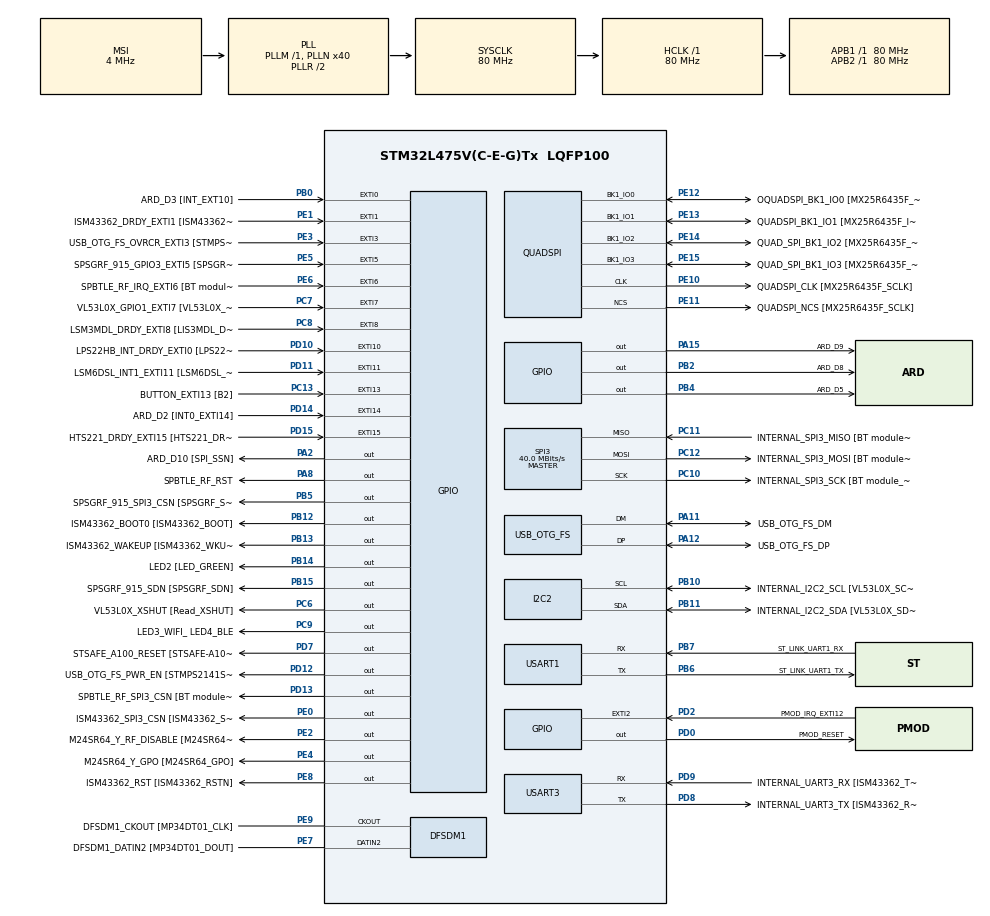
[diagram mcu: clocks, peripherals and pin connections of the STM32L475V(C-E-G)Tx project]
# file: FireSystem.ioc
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FREERTOS.BinarySemaphores01=myBinarySem01,Dynamic,NULL;myBinarySem02,Dynamic,NULL;myBinarySem03,Dynamic,NULL
FREERTOS.Mutexes01=myMutex01,Dynamic,NULL
FREERTOS.Queues01=myQueue01,256,Data,0,Dynamic,NULL,NULL;myQueue02,64,Temp,0,Dynamic,NULL,NULL;myQueue03,64,Temp,0,Dynamic,NULL,NULL
FREERTOS.Tasks01=TaskBottone,2,128,StartTaskBottone,Default,NULL,Dynamic,NULL,NULL;TaskTemperatura,0,128,StartTaskTemperatura,Default,NULL,Dynamic,NULL,NULL;TaskDistanza,0,512,StartTaskDistanza,Default,NULL,Dynamic,NULL,NULL;TaskLed,0,128,StartTaskLed,Default,NULL,Dynamic,NULL,NULL
FREERTOS.configENABLE_FPU=1
FREERTOS.configGENERATE_RUN_TIME_STATS=1
FREERTOS.configRECORD_STACK_HIGH_ADDRESS=1
FREERTOS.configTOTAL_HEAP_SIZE=8000
FREERTOS.configUSE_APPLICATION_TASK_TAG=1
FREERTOS.configUSE_COUNTING_SEMAPHORES=1
FREERTOS.configUSE_CO_ROUTINES=1
FREERTOS.configUSE_IDLE_HOOK=1
FREERTOS.configUSE_MALLOC_FAILED_HOOK=1
FREERTOS.configUSE_RECURSIVE_MUTEXES=1
FREERTOS.configUSE_STATS_FORMATTING_FUNCTIONS=1
FREERTOS.configUSE_TICK_HOOK=1
FREERTOS.configUSE_TIMERS=1
FREERTOS.configUSE_TRACE_FACILITY=1
Mcu.Family=STM32L4
Mcu.Name=STM32L475V(C-E-G)Tx
Mcu.Package=LQFP100
NVIC.EXTI15_10_IRQn=true\:5\:0\:false\:false\:true\:true\:true\:true
NVIC.EXTI9_5_IRQn=true\:5\:0\:false\:false\:true\:true\:true\:true
NVIC.PriorityGroup=NVIC_PRIORITYGROUP_4
PA0.GPIO_Label=ARD_D1 [UART4_TX]
PA0.Signal=UART4_TX
PA1.GPIO_Label=ARD_D0 [UART4_RX]
PA1.Signal=UART4_RX
PA10.GPIO_Label=USB_OTG_FS_ID
PA10.Signal=USB_OTG_FS_ID
PA11.GPIO_Label=USB_OTG_FS_DM
PA11.Mode=Device_Only
PA11.Signal=USB_OTG_FS_DM
PA12.GPIO_Label=USB_OTG_FS_DP
PA12.Mode=Device_Only
PA12.Signal=USB_OTG_FS_DP
PA13\ (JTMS-SWDIO).GPIO_Label=SYS_JTMS_SWDIO
PA13\ (JTMS-SWDIO).Mode=Serial_Wire
PA13\ (JTMS-SWDIO).Signal=SYS_JTMS-SWDIO
PA14\ (JTCK-SWCLK).GPIO_Label=SYS_JTCK_SWCLK
PA14\ (JTCK-SWCLK).Mode=Serial_Wire
PA14\ (JTCK-SWCLK).Signal=SYS_JTCK-SWCLK
PA15\ (JTDI).GPIO_Label=ARD_D9
PA15\ (JTDI).Signal=GPIO_Output
PA2.GPIO_Label=ARD_D10 [SPI_SSN]
PA2.Signal=GPIO_Output
PA3.GPIO_Label=ARD_D4
PA3.Signal=S_TIM2_CH4
PA4.GPIO_Label=ARD_D7
PA4.Signal=ADCx_IN9
PA5.GPIO_Label=ARD_D13 [SPI1_SCK]
PA5.Signal=SPI1_SCK
PA6.GPIO_Label=ARD_D12 [SPI1_MISO]
PA6.Signal=SPI1_MISO
PA7.GPIO_Label=ARD_D11 [SPI1_MOSI]
PA7.Signal=SPI1_MOSI
PA8.GPIO_Label=SPBTLE_RF_RST
PA8.Signal=GPIO_Output
PA9.GPIO_Label=USB_OTG_FS_VBUS [STMPS2141STR_OUT]
PA9.Signal=USB_OTG_FS_VBUS
PB0.GPIO_Label=ARD_D3 [INT_EXT10]
PB0.Signal=GPXTI0
PB1.GPIO_Label=ARD_D6 [ADC1_IN6]
PB1.Signal=ADCx_IN16
PB10.GPIO_Label=INTERNAL_I2C2_SCL [VL53L0X_SCL]
PB10.Mode=I2C
PB10.Signal=I2C2_SCL
PB11.GPIO_Label=INTERNAL_I2C2_SDA [VL53L0X_SDA]
PB11.Mode=I2C
PB11.Signal=I2C2_SDA
PB12.GPIO_Label=ISM43362_BOOT0 [ISM43362_BOOT]
PB12.Signal=GPIO_Output
PB13.GPIO_Label=ISM43362_WAKEUP [ISM43362_WKUP]
PB13.Signal=GPIO_Output
PB14.GPIO_Label=LED2 [LED_GREEN]
PB14.Signal=GPIO_Output
PB15.GPIO_Label=SPSGRF_915_SDN [SPSGRF_SDN]
PB15.Signal=GPIO_Output
PB2.GPIO_Label=ARD_D8
PB2.Signal=GPIO_Output
PB3\ (JTDO-TRACESWO).GPIO_Label=SYS_JTD0_SWO
PB3\ (JTDO-TRACESWO).Signal=SYS_JTDO-SWO
PB4\ (NJTRST).GPIO_Label=ARD_D5
PB4\ (NJTRST).Signal=GPIO_Output
PB5.GPIO_Label=SPSGRF_915_SPI3_CSN [SPSGRF_SPI_CS]
PB5.PinState=GPIO_PIN_SET
PB5.Signal=GPIO_Output
PB6.GPIO_Label=ST_LINK_UART1_TX
PB6.Mode=Asynchronous
PB6.Signal=USART1_TX
PB7.GPIO_Label=ST_LINK_UART1_RX
PB7.Mode=Asynchronous
PB7.Signal=USART1_RX
PB8.GPIO_Label=ARD_D15 [I2C1_SCL]
PB8.Signal=I2C1_SCL
PB9.GPIO_Label=ARD_D14 [I2C1_SDA]
PB9.Signal=I2C1_SDA
PC0.GPIO_Label=ARD_A5 [ADC]
PC0.Signal=ADCx_IN1
PC1.GPIO_Label=ARD_A4 [ADC]
PC1.Signal=ADCx_IN2
PC10.GPIO_Label=INTERNAL_SPI3_SCK [BT module_SPI_SCLK] [ISM43362_SCK]
PC10.Mode=Full_Duplex_Master
PC10.Signal=SPI3_SCK
PC11.GPIO_Label=INTERNAL_SPI3_MISO [BT module_SPI_MISO] [ISM43362_MISO]
PC11.Mode=Full_Duplex_Master
PC11.Signal=SPI3_MISO
PC12.GPIO_Label=INTERNAL_SPI3_MOSI [BT module_SPI_MOSI] [ISM43362_MOSI]
PC12.Mode=Full_Duplex_Master
PC12.Signal=SPI3_MOSI
PC13.GPIO_Label=BUTTON_EXTI13 [B2]
PC13.GPIO_ModeDefaultEXTI=GPIO_MODE_IT_FALLING
PC13.Signal=GPXTI13
PC14-OSC32_IN\ (PC14).Mode=LSE-External-Oscillator
PC14-OSC32_IN\ (PC14).Signal=RCC_OSC32_IN
PC15-OSC32_OUT\ (PC15).Mode=LSE-External-Oscillator
PC15-OSC32_OUT\ (PC15).Signal=RCC_OSC32_OUT
PC2.GPIO_Label=ARD_A3 [ADC]
PC2.Signal=ADCx_IN3
PC3.GPIO_Label=ARD_A2 [ADC]
PC3.Signal=ADCx_IN4
PC4.GPIO_Label=ARD_A1 [ADC]
PC4.Signal=ADCx_IN13
PC5.GPIO_Label=ARD_A0 [ADC]
PC5.Signal=ADCx_IN14
PC6.GPIO_Label=VL53L0X_XSHUT [Read_XSHUT]
PC6.Signal=GPIO_Output
PC7.GPIO_Label=VL53L0X_GPIO1_EXTI7 [VL53L0X_GPIO1]
PC7.Signal=GPXTI7
PC8.GPIO_Label=LSM3MDL_DRDY_EXTI8 [LIS3MDL_DRDY]
PC8.Signal=GPXTI8
PC9.GPIO_Label=LED3_WIFI_ LED4_BLE
PC9.Signal=GPIO_Output
PD0.GPIO_Label=PMOD_RESET
PD0.Signal=GPIO_Output
PD1.GPIO_Label=PMOD_SPI2_SCK
PD1.Signal=SPI2_SCK
PD10.GPIO_Label=LPS22HB_INT_DRDY_EXTI0 [LPS22HB_INT_DRDY] 
PD10.Signal=GPXTI10
PD11.GPIO_Label=LSM6DSL_INT1_EXTI11 [LSM6DSL_INT1]
PD11.Signal=GPXTI11
PD12.GPIO_Label=USB_OTG_FS_PWR_EN [STMPS2141STR_EN]
PD12.Signal=GPIO_Output
PD13.GPIO_Label=SPBTLE_RF_SPI3_CSN [BT module_SPI_CS]
PD13.PinState=GPIO_PIN_SET
PD13.Signal=GPIO_Output
PD14.GPIO_Label=ARD_D2 [INT0_EXTI14]
PD14.Signal=GPXTI14
PD15.GPIO_Label=HTS221_DRDY_EXTI15 [HTS221_DRDY]
PD15.Signal=GPXTI15
PD2.GPIO_Label=PMOD_IRQ_EXTI12
PD2.Signal=GPXTI2
PD3.GPIO_Label=PMOD_UART2_CTS
PD3.Signal=USART2_CTS
PD4.GPIO_Label=PMOD_UART2_RTS
PD4.Signal=USART2_RTS
PD5.GPIO_Label=PMOD_UART2_TX
PD5.Signal=USART2_TX
PD6.GPIO_Label=PMOD_UART2_RX
PD6.Signal=USART2_RX
PD7.GPIO_Label=STSAFE_A100_RESET [STSAFE-A100_RESET]
PD7.Signal=GPIO_Output
PD8.GPIO_Label=INTERNAL_UART3_TX [ISM43362_RX]
PD8.Mode=Asynchronous
PD8.Signal=USART3_TX
PD9.GPIO_Label=INTERNAL_UART3_RX [ISM43362_TX]
PD9.Mode=Asynchronous
PD9.Signal=USART3_RX
PE0.GPIO_Label=ISM43362_SPI3_CSN [ISM43362_SSN]
PE0.PinState=GPIO_PIN_SET
PE0.Signal=GPIO_Output
PE1.GPIO_Label=ISM43362_DRDY_EXTI1 [ISM43362_DATARDY]
PE1.Signal=GPXTI1
PE10.GPIO_Label=QUADSPI_CLK [MX25R6435F_SCLK]
PE10.Mode=Single Bank
PE10.Signal=QUADSPI_CLK
PE11.GPIO_Label=QUADSPI_NCS [MX25R6435F_SCLK]
PE11.Mode=Single Bank
PE11.Signal=QUADSPI_NCS
PE12.GPIO_Label=OQUADSPI_BK1_IO0 [MX25R6435F_IO0]
PE12.Mode=Single Bank
PE12.Signal=QUADSPI_BK1_IO0
PE13.GPIO_Label=QUADSPI_BK1_IO1 [MX25R6435F_IO1]
PE13.Mode=Single Bank
PE13.Signal=QUADSPI_BK1_IO1
PE14.GPIO_Label=QUAD_SPI_BK1_IO2 [MX25R6435F_IO2]
PE14.Mode=Single Bank
PE14.Signal=QUADSPI_BK1_IO2
PE15.GPIO_Label=QUAD_SPI_BK1_IO3 [MX25R6435F_IO3]
PE15.Mode=Single Bank
PE15.Signal=QUADSPI_BK1_IO3
PE2.GPIO_Label=M24SR64_Y_RF_DISABLE [M24SR64_RFDIS]
PE2.Signal=GPIO_Output
PE3.GPIO_Label=USB_OTG_FS_OVRCR_EXTI3 [STMPS2141STR_FAULT]
PE3.Signal=GPXTI3
PE4.GPIO_Label=M24SR64_Y_GPO [M24SR64_GPO]
PE4.Signal=GPIO_Output
PE5.GPIO_Label=SPSGRF_915_GPIO3_EXTI5 [SPSGRF_GPIO_3]
PE5.Signal=GPXTI5
PE6.GPIO_Label=SPBTLE_RF_IRQ_EXTI6 [BT module_SPI_IRQ]
PE6.Signal=GPXTI6
PE7.GPIO_Label=DFSDM1_DATIN2 [MP34DT01_DOUT]
PE7.Signal=S_DATAIN2DFSDM1
PE8.GPIO_Label=ISM43362_RST [ISM43362_RSTN]
PE8.Signal=GPIO_Output
PE9.GPIO_Label=DFSDM1_CKOUT [MP34DT01_CLK]
PE9.Signal=S_CKOUTDFSDM1
ProjectManager.HeapSize=0x200
ProjectManager.StackSize=0x400
ProjectManager.TargetToolchain=STM32CubeIDE
RCC.ADCFreq_Value=48000000
RCC.AHBFreq_Value=80000000
RCC.APB1Freq_Value=80000000
RCC.APB1TimFreq_Value=80000000
RCC.APB2Freq_Value=80000000
RCC.APB2TimFreq_Value=80000000
RCC.CortexFreq_Value=80000000
RCC.HCLKFreq_Value=80000000
RCC.HSE_VALUE=8000000
RCC.HSI_VALUE=16000000
RCC.MSI_VALUE=4000000
RCC.PLLN=40
RCC.PLLSAI1N=24
RCC.SYSCLKFreq_VALUE=80000000
RCC.SYSCLKSource=RCC_SYSCLKSOURCE_PLLCLK
RCC.USBFreq_Value=48000000
RCC.VCOOutputFreq_Value=160000000
SH.ADCx_IN1.0=ADC1_IN1
SH.ADCx_IN13.0=ADC1_IN13
SH.ADCx_IN14.0=ADC1_IN14
SH.ADCx_IN16.0=ADC1_IN16
SH.ADCx_IN2.0=ADC1_IN2
SH.ADCx_IN3.0=ADC1_IN3
SH.ADCx_IN4.0=ADC1_IN4
SH.ADCx_IN9.0=ADC1_IN9
SH.S_CKOUTDFSDM1.0=DFSDM1_CKOUT,CKOUT
SH.S_CKOUTDFSDM1.1=DFSDM1_CKOUT,PDM_SPI_Input_from_ch12_and_Internal_Clock
SH.S_DATAIN2DFSDM1.0=DFSDM1_DATIN2,PDM_SPI_Input_from_ch12_and_Internal_Clock
SH.S_TIM2_CH4.0=TIM2_CH4
SPI3.CalculateBaudRate=40.0 MBits/s
SPI3.Direction=SPI_DIRECTION_2LINES
SPI3.Mode=SPI_MODE_MASTER
SPI3.VirtualType=VM_MASTER
USART1.VirtualMode-Asynchronous=VM_ASYNC
USART3.VirtualMode-Asynchronous=VM_ASYNC
USB_OTG_FS.VirtualMode=Device_Only
VP_FREERTOS_VS_CMSIS_V1.Mode=CMSIS_V1
board=B-L475E-IOT01A1

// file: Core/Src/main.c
/* USER CODE BEGIN Header */
/**
  ******************************************************************************
  * @file           : main.c
  * @brief          : Main program body
  ******************************************************************************
  * @attention
  *
  * <h2><center>&copy; Copyright (c) 2020 STMicroelectronics.
  * All rights reserved.</center></h2>
  *
  * This software component is licensed by ST under BSD 3-Clause license,
  * the "License"; You may not use this file except in compliance with the
  * License. You may obtain a copy of the License at:
  *                        opensource.org/licenses/BSD-3-Clause
  *
  ******************************************************************************
  */
/* USER CODE END Header */

#include "main.h"
#include "cmsis_os.h"

/* USER CODE BEGIN Includes */
#include "vl53l0x_proximity.h"
#include "vl53l0x_platform.h"
#include "vl53l0x_device.h"

#include "stm32l4xx_hal.h"

#include "vl53l0x_api_ranging.h"
#include "vl53l0x_api.h"
#include "stdio.h"
#include "math.h"
#include "stm32l475e_iot01_tsensor.h"
#include "stm32l475e_iot01.h"
#include "tof_gestures_DIRSWIPE_1.h"
#include "tof_gestures_platform.h"
#include "tof_gestures_SWIPE_1.h"
#include "tof_gestures_TAP_1.h"
#include "tof_gestures_types.h"
#include "tof_gestures.h"
#include "tof_motion.h"

#include "message.h"
#include "time.h"
/* USER CODE END Includes */

/* USER CODE BEGIN PD */
#define tempMax 28
#define nTempValid 5
#define distMax 100
#define distMin 50
/* USER CODE END PD */

DFSDM_Channel_HandleTypeDef hdfsdm1_channel1;

I2C_HandleTypeDef hi2c2;

QSPI_HandleTypeDef hqspi;

SPI_HandleTypeDef hspi3;

UART_HandleTypeDef huart1;
UART_HandleTypeDef huart3;

PCD_HandleTypeDef hpcd_USB_OTG_FS;

osThreadId TaskBottoneHandle;
osThreadId TaskTemperaturaHandle;
osThreadId TaskDistanzaHandle;
osThreadId TaskLedHandle;
osMessageQId myQueue01Handle;
osMessageQId myQueue02Handle;
osMessageQId myQueue03Handle;
osMutexId myMutex01Handle;
osSemaphoreId myBinarySem01Handle;
osSemaphoreId myBinarySem02Handle;
osSemaphoreId myBinarySem03Handle;
/* USER CODE BEGIN PV */
char str_tmp2[30];
char str_tmp4[30];
char str_tmp5[30];
char str_tmp7[100];
char str_tmp8[100];
char str_tmp9[100];
char str_tmp10[100];
char str_tmp11[100];
char str_tmp12[100];
char str_tmp13[100];
char str_tmp14[100];
char str1[100];
char str2[100];
char str3[100];
char str4[100];
char linea[100]="----------------------------------------\n\r";
int delay = 1500;
int messaggioInviato = 0;
int messaggioTrasmesso = 0;
uint8_t temp_value=0;
int nTempBasse=0;
int nTempAlte=0;
int b2=1;
int b3=1;
osEvent distanzaRicevuta;
osEvent tempRicevuta;
osEvent statoPulsanteRicevuto;
uint32_t bitstatus=0;
int pulsante = 0;
int incendio = 0;
int action = 0;

uint32_t time1=0;
uint32_t time2=0;
uint32_t time3=0;
uint32_t time4=0;

typedef struct{
	uint16_t Distance;
	int Gesture;
} Data;

typedef struct{
	uint16_t tempValue;
	int id;
} Temp;

Gesture_SWIPE_1_Data_t gestureSwipeData;

/* USER CODE END PV */

void SystemClock_Config(void);
static void MX_GPIO_Init(void);
static void MX_DFSDM1_Init(void);
static void MX_I2C2_Init(void);
static void MX_QUADSPI_Init(void);
static void MX_SPI3_Init(void);
static void MX_USART1_UART_Init(void);
static void MX_USART3_UART_Init(void);
static void MX_USB_OTG_FS_PCD_Init(void);
void StartTaskBottone(void const * argument);
void StartTaskTemperatura(void const * argument);
void StartTaskDistanza(void const * argument);
void StartTaskLed(void const * argument);

int main(void)
{

  /* MCU Configuration--------------------------------------------------------*/

  /* Reset of all peripherals, Initializes the Flash interface and the Systick. */
  HAL_Init();

  /* Configure the system clock */
  SystemClock_Config();

  /* Initialize all configured peripherals */
  MX_GPIO_Init();
  MX_DFSDM1_Init();
  MX_I2C2_Init();
  MX_QUADSPI_Init();
  MX_SPI3_Init();
  MX_USART1_UART_Init();
  MX_USART3_UART_Init();
  MX_USB_OTG_FS_PCD_Init();
  /* USER CODE BEGIN 2 */
  VL53L0X_PROXIMITY_Init();
  BSP_TSENSOR_Init();
  tof_gestures_initSWIPE_1(&gestureSwipeData);
  /* USER CODE END 2 */
  /* Create the mutex(es) */
  /* definition and creation of myMutex01 */
  osMutexDef(myMutex01);
  myMutex01Handle = osMutexCreate(osMutex(myMutex01));

  /* Create the semaphores(s) */
   /* definition and creation of myBinarySem02 */
  osSemaphoreDef(myBinarySem02);
  myBinarySem02Handle = osSemaphoreCreate(osSemaphore(myBinarySem02), 1);

  /* definition and creation of myBinarySem03 */
  osSemaphoreDef(myBinarySem03);
  myBinarySem03Handle = osSemaphoreCreate(osSemaphore(myBinarySem03), 1);

  /* Create the queue(s) */
  /* definition and creation of myQueue01 */
  osMessageQDef(myQueue01, 256, Data);
  myQueue01Handle = osMessageCreate(osMessageQ(myQueue01), NULL);

  /* definition and creation of myQueue02 */
  osMessageQDef(myQueue02, 64, Temp);
  myQueue02Handle = osMessageCreate(osMessageQ(myQueue02), NULL);

  /* definition and creation of myQueue03 */
  osMessageQDef(myQueue03, 64, Temp);
  myQueue03Handle = osMessageCreate(osMessageQ(myQueue03), NULL);

  /* Create the thread(s) */
  /* definition and creation of TaskBottone */
  osThreadDef(TaskBottone, StartTaskBottone, osPriorityHigh, 0, 128);
  TaskBottoneHandle = osThreadCreate(osThread(TaskBottone), NULL);

  /* definition and creation of TaskTemperatura */
  osThreadDef(TaskTemperatura, StartTaskTemperatura, osPriorityNormal, 0, 128);
  TaskTemperaturaHandle = osThreadCreate(osThread(TaskTemperatura), NULL);

  /* definition and creation of TaskDistanza */
  osThreadDef(TaskDistanza, StartTaskDistanza, osPriorityNormal, 0, 512);
  TaskDistanzaHandle = osThreadCreate(osThread(TaskDistanza), NULL);

  /* definition and creation of TaskLed */
  osThreadDef(TaskLed, StartTaskLed, osPriorityNormal, 0, 128);
  TaskLedHandle = osThreadCreate(osThread(TaskLed), NULL);

  /* Start scheduler */
  osKernelStart();

  /* We should never get here as control is now taken by the scheduler */

  /* Infinite loop */
  while (1)
  {

  }
}

void SystemClock_Config(void)
{
  RCC_OscInitTypeDef RCC_OscInitStruct = {0};
  RCC_ClkInitTypeDef RCC_ClkInitStruct = {0};
  RCC_PeriphCLKInitTypeDef PeriphClkInit = {0};

  /** Configure LSE Drive Capability
  */
  HAL_PWR_EnableBkUpAccess();
  __HAL_RCC_LSEDRIVE_CONFIG(RCC_LSEDRIVE_LOW);
  /** Initializes the CPU, AHB and APB busses clocks
  */
  RCC_OscInitStruct.OscillatorType = RCC_OSCILLATORTYPE_LSE|RCC_OSCILLATORTYPE_MSI;
  RCC_OscInitStruct.LSEState = RCC_LSE_ON;
  RCC_OscInitStruct.MSIState = RCC_MSI_ON;
  RCC_OscInitStruct.MSICalibrationValue = 0;
  RCC_OscInitStruct.MSIClockRange = RCC_MSIRANGE_6;
  RCC_OscInitStruct.PLL.PLLState = RCC_PLL_ON;
  RCC_OscInitStruct.PLL.PLLSource = RCC_PLLSOURCE_MSI;
  RCC_OscInitStruct.PLL.PLLM = 1;
  RCC_OscInitStruct.PLL.PLLN = 40;
  RCC_OscInitStruct.PLL.PLLP = RCC_PLLP_DIV7;
  RCC_OscInitStruct.PLL.PLLQ = RCC_PLLQ_DIV2;
  RCC_OscInitStruct.PLL.PLLR = RCC_PLLR_DIV2;
  if (HAL_RCC_OscConfig(&RCC_OscInitStruct) != HAL_OK)
  {
    Error_Handler();
  }
  /** Initializes the CPU, AHB and APB busses clocks
  */
  RCC_ClkInitStruct.ClockType = RCC_CLOCKTYPE_HCLK|RCC_CLOCKTYPE_SYSCLK
                              |RCC_CLOCKTYPE_PCLK1|RCC_CLOCKTYPE_PCLK2;
  RCC_ClkInitStruct.SYSCLKSource = RCC_SYSCLKSOURCE_PLLCLK;
  RCC_ClkInitStruct.AHBCLKDivider = RCC_SYSCLK_DIV1;
  RCC_ClkInitStruct.APB1CLKDivider = RCC_HCLK_DIV1;
  RCC_ClkInitStruct.APB2CLKDivider = RCC_HCLK_DIV1;

  if (HAL_RCC_ClockConfig(&RCC_ClkInitStruct, FLASH_LATENCY_4) != HAL_OK)
  {
    Error_Handler();
  }
  PeriphClkInit.PeriphClockSelection = RCC_PERIPHCLK_USART1|RCC_PERIPHCLK_USART3
                              |RCC_PERIPHCLK_I2C2|RCC_PERIPHCLK_DFSDM1
                              |RCC_PERIPHCLK_USB;
  PeriphClkInit.Usart1ClockSelection = RCC_USART1CLKSOURCE_PCLK2;
  PeriphClkInit.Usart3ClockSelection = RCC_USART3CLKSOURCE_PCLK1;
  PeriphClkInit.I2c2ClockSelection = RCC_I2C2CLKSOURCE_PCLK1;
  PeriphClkInit.Dfsdm1ClockSelection = RCC_DFSDM1CLKSOURCE_PCLK;
  PeriphClkInit.UsbClockSelection = RCC_USBCLKSOURCE_PLLSAI1;
  PeriphClkInit.PLLSAI1.PLLSAI1Source = RCC_PLLSOURCE_MSI;
  PeriphClkInit.PLLSAI1.PLLSAI1M = 1;
  PeriphClkInit.PLLSAI1.PLLSAI1N = 24;
  PeriphClkInit.PLLSAI1.PLLSAI1P = RCC_PLLP_DIV7;
  PeriphClkInit.PLLSAI1.PLLSAI1Q = RCC_PLLQ_DIV2;
  PeriphClkInit.PLLSAI1.PLLSAI1R = RCC_PLLR_DIV2;
  PeriphClkInit.PLLSAI1.PLLSAI1ClockOut = RCC_PLLSAI1_48M2CLK;
  if (HAL_RCCEx_PeriphCLKConfig(&PeriphClkInit) != HAL_OK)
  {
    Error_Handler();
  }
  /** Configure the main internal regulator output voltage
  */
  if (HAL_PWREx_ControlVoltageScaling(PWR_REGULATOR_VOLTAGE_SCALE1) != HAL_OK)
  {
    Error_Handler();
  }
  /** Enable MSI Auto calibration
  */
  HAL_RCCEx_EnableMSIPLLMode();
}

static void MX_DFSDM1_Init(void)
{

  hdfsdm1_channel1.Instance = DFSDM1_Channel1;
  hdfsdm1_channel1.Init.OutputClock.Activation = ENABLE;
  hdfsdm1_channel1.Init.OutputClock.Selection = DFSDM_CHANNEL_OUTPUT_CLOCK_SYSTEM;
  hdfsdm1_channel1.Init.OutputClock.Divider = 2;
  hdfsdm1_channel1.Init.Input.Multiplexer = DFSDM_CHANNEL_EXTERNAL_INPUTS;
  hdfsdm1_channel1.Init.Input.DataPacking = DFSDM_CHANNEL_STANDARD_MODE;
  hdfsdm1_channel1.Init.Input.Pins = DFSDM_CHANNEL_FOLLOWING_CHANNEL_PINS;
  hdfsdm1_channel1.Init.SerialInterface.Type = DFSDM_CHANNEL_SPI_RISING;
  hdfsdm1_channel1.Init.SerialInterface.SpiClock = DFSDM_CHANNEL_SPI_CLOCK_INTERNAL;
  hdfsdm1_channel1.Init.Awd.FilterOrder = DFSDM_CHANNEL_FASTSINC_ORDER;
  hdfsdm1_channel1.Init.Awd.Oversampling = 1;
  hdfsdm1_channel1.Init.Offset = 0;
  hdfsdm1_channel1.Init.RightBitShift = 0x00;
  if (HAL_DFSDM_ChannelInit(&hdfsdm1_channel1) != HAL_OK)
  {
    Error_Handler();
  }

}

static void MX_I2C2_Init(void)
{

  hi2c2.Instance = I2C2;
  hi2c2.Init.Timing = 0x10909CEC;
  hi2c2.Init.OwnAddress1 = 0;
  hi2c2.Init.AddressingMode = I2C_ADDRESSINGMODE_7BIT;
  hi2c2.Init.DualAddressMode = I2C_DUALADDRESS_DISABLE;
  hi2c2.Init.OwnAddress2 = 0;
  hi2c2.Init.OwnAddress2Masks = I2C_OA2_NOMASK;
  hi2c2.Init.GeneralCallMode = I2C_GENERALCALL_DISABLE;
  hi2c2.Init.NoStretchMode = I2C_NOSTRETCH_DISABLE;
  if (HAL_I2C_Init(&hi2c2) != HAL_OK)
  {
    Error_Handler();
  }
  /** Configure Analogue filter
  */
  if (HAL_I2CEx_ConfigAnalogFilter(&hi2c2, I2C_ANALOGFILTER_ENABLE) != HAL_OK)
  {
    Error_Handler();
  }
  /** Configure Digital filter
  */
  if (HAL_I2CEx_ConfigDigitalFilter(&hi2c2, 0) != HAL_OK)
  {
    Error_Handler();
  }

}

static void MX_QUADSPI_Init(void)
{

  /* QUADSPI parameter configuration*/
  hqspi.Instance = QUADSPI;
  hqspi.Init.ClockPrescaler = 255;
  hqspi.Init.FifoThreshold = 1;
  hqspi.Init.SampleShifting = QSPI_SAMPLE_SHIFTING_NONE;
  hqspi.Init.FlashSize = 1;
  hqspi.Init.ChipSelectHighTime = QSPI_CS_HIGH_TIME_1_CYCLE;
  hqspi.Init.ClockMode = QSPI_CLOCK_MODE_0;
  if (HAL_QSPI_Init(&hqspi) != HAL_OK)
  {
    Error_Handler();
  }

}

static void MX_SPI3_Init(void)
{

  /* SPI3 parameter configuration*/
  hspi3.Instance = SPI3;
  hspi3.Init.Mode = SPI_MODE_MASTER;
  hspi3.Init.Direction = SPI_DIRECTION_2LINES;
  hspi3.Init.DataSize = SPI_DATASIZE_4BIT;
  hspi3.Init.CLKPolarity = SPI_POLARITY_LOW;
  hspi3.Init.CLKPhase = SPI_PHASE_1EDGE;
  hspi3.Init.NSS = SPI_NSS_SOFT;
  hspi3.Init.BaudRatePrescaler = SPI_BAUDRATEPRESCALER_2;
  hspi3.Init.FirstBit = SPI_FIRSTBIT_MSB;
  hspi3.Init.TIMode = SPI_TIMODE_DISABLE;
  hspi3.Init.CRCCalculation = SPI_CRCCALCULATION_DISABLE;
  hspi3.Init.CRCPolynomial = 7;
  hspi3.Init.CRCLength = SPI_CRC_LENGTH_DATASIZE;
  hspi3.Init.NSSPMode = SPI_NSS_PULSE_ENABLE;
  if (HAL_SPI_Init(&hspi3) != HAL_OK)
  {
    Error_Handler();
  }

}

static void MX_USART1_UART_Init(void)
{

  huart1.Instance = USART1;
  huart1.Init.BaudRate = 115200;
  huart1.Init.WordLength = UART_WORDLENGTH_8B;
  huart1.Init.StopBits = UART_STOPBITS_1;
  huart1.Init.Parity = UART_PARITY_NONE;
  huart1.Init.Mode = UART_MODE_TX_RX;
  huart1.Init.HwFlowCtl = UART_HWCONTROL_NONE;
  huart1.Init.OverSampling = UART_OVERSAMPLING_16;
  huart1.Init.OneBitSampling = UART_ONE_BIT_SAMPLE_DISABLE;
  huart1.AdvancedInit.AdvFeatureInit = UART_ADVFEATURE_NO_INIT;
  if (HAL_UART_Init(&huart1) != HAL_OK)
  {
    Error_Handler();
  }

}

static void MX_USART3_UART_Init(void)
{

  huart3.Instance = USART3;
  huart3.Init.BaudRate = 115200;
  huart3.Init.WordLength = UART_WORDLENGTH_8B;
  huart3.Init.StopBits = UART_STOPBITS_1;
  huart3.Init.Parity = UART_PARITY_NONE;
  huart3.Init.Mode = UART_MODE_TX_RX;
  huart3.Init.HwFlowCtl = UART_HWCONTROL_NONE;
  huart3.Init.OverSampling = UART_OVERSAMPLING_16;
  huart3.Init.OneBitSampling = UART_ONE_BIT_SAMPLE_DISABLE;
  huart3.AdvancedInit.AdvFeatureInit = UART_ADVFEATURE_NO_INIT;
  if (HAL_UART_Init(&huart3) != HAL_OK)
  {
    Error_Handler();
  }

}

static void MX_USB_OTG_FS_PCD_Init(void)
{

  hpcd_USB_OTG_FS.Instance = USB_OTG_FS;
  hpcd_USB_OTG_FS.Init.dev_endpoints = 6;
  hpcd_USB_OTG_FS.Init.speed = PCD_SPEED_FULL;
  hpcd_USB_OTG_FS.Init.phy_itface = PCD_PHY_EMBEDDED;
  hpcd_USB_OTG_FS.Init.Sof_enable = DISABLE;
  hpcd_USB_OTG_FS.Init.low_power_enable = DISABLE;
  hpcd_USB_OTG_FS.Init.lpm_enable = DISABLE;
  hpcd_USB_OTG_FS.Init.battery_charging_enable = DISABLE;
  hpcd_USB_OTG_FS.Init.use_dedicated_ep1 = DISABLE;
  hpcd_USB_OTG_FS.Init.vbus_sensing_enable = DISABLE;
  if (HAL_PCD_Init(&hpcd_USB_OTG_FS) != HAL_OK)
  {
    Error_Handler();
  }

}

static void MX_GPIO_Init(void)
{
  GPIO_InitTypeDef GPIO_InitStruct = {0};

  /* GPIO Ports Clock Enable */
  __HAL_RCC_GPIOE_CLK_ENABLE();
  __HAL_RCC_GPIOC_CLK_ENABLE();
  __HAL_RCC_GPIOA_CLK_ENABLE();
  __HAL_RCC_GPIOB_CLK_ENABLE();
  __HAL_RCC_GPIOD_CLK_ENABLE();

  /*Configure GPIO pin Output Level */
  HAL_GPIO_WritePin(GPIOE, M24SR64_Y_RF_DISABLE_Pin|M24SR64_Y_GPO_Pin|ISM43362_RST_Pin, GPIO_PIN_RESET);

  /*Configure GPIO pin Output Level */
  HAL_GPIO_WritePin(GPIOA, ARD_D10_Pin|SPBTLE_RF_RST_Pin|ARD_D9_Pin, GPIO_PIN_RESET);

  /*Configure GPIO pin Output Level */
  HAL_GPIO_WritePin(GPIOB, ARD_D8_Pin|ISM43362_BOOT0_Pin|ISM43362_WAKEUP_Pin|LED2_Pin
                          |SPSGRF_915_SDN_Pin|ARD_D5_Pin, GPIO_PIN_RESET);

  /*Configure GPIO pin Output Level */
  HAL_GPIO_WritePin(GPIOD, USB_OTG_FS_PWR_EN_Pin|PMOD_RESET_Pin|STSAFE_A100_RESET_Pin, GPIO_PIN_RESET);

  /*Configure GPIO pin Output Level */
  HAL_GPIO_WritePin(SPBTLE_RF_SPI3_CSN_GPIO_Port, SPBTLE_RF_SPI3_CSN_Pin, GPIO_PIN_SET);

  /*Configure GPIO pin Output Level */
  HAL_GPIO_WritePin(GPIOC, VL53L0X_XSHUT_Pin|LED3_WIFI__LED4_BLE_Pin, GPIO_PIN_RESET);

  /*Configure GPIO pin Output Level */
  HAL_GPIO_WritePin(SPSGRF_915_SPI3_CSN_GPIO_Port, SPSGRF_915_SPI3_CSN_Pin, GPIO_PIN_SET);

  /*Configure GPIO pin Output Level */
  HAL_GPIO_WritePin(ISM43362_SPI3_CSN_GPIO_Port, ISM43362_SPI3_CSN_Pin, GPIO_PIN_SET);

  /*Configure GPIO pins : M24SR64_Y_RF_DISABLE_Pin M24SR64_Y_GPO_Pin ISM43362_RST_Pin ISM43362_SPI3_CSN_Pin */
  GPIO_InitStruct.Pin = M24SR64_Y_RF_DISABLE_Pin|M24SR64_Y_GPO_Pin|ISM43362_RST_Pin|ISM43362_SPI3_CSN_Pin;
  GPIO_InitStruct.Mode = GPIO_MODE_OUTPUT_PP;
  GPIO_InitStruct.Pull = GPIO_NOPULL;
  GPIO_InitStruct.Speed = GPIO_SPEED_FREQ_LOW;
  HAL_GPIO_Init(GPIOE, &GPIO_InitStruct);

  /*Configure GPIO pins : USB_OTG_FS_OVRCR_EXTI3_Pin SPSGRF_915_GPIO3_EXTI5_Pin SPBTLE_RF_IRQ_EXTI6_Pin ISM43362_DRDY_EXTI1_Pin */
  GPIO_InitStruct.Pin = USB_OTG_FS_OVRCR_EXTI3_Pin|SPSGRF_915_GPIO3_EXTI5_Pin|SPBTLE_RF_IRQ_EXTI6_Pin|ISM43362_DRDY_EXTI1_Pin;
  GPIO_InitStruct.Mode = GPIO_MODE_IT_RISING;
  GPIO_InitStruct.Pull = GPIO_NOPULL;
  HAL_GPIO_Init(GPIOE, &GPIO_InitStruct);

  /*Configure GPIO pin : BUTTON_EXTI13_Pin */
  GPIO_InitStruct.Pin = BUTTON_EXTI13_Pin;
  GPIO_InitStruct.Mode = GPIO_MODE_IT_FALLING;
  GPIO_InitStruct.Pull = GPIO_NOPULL;
  HAL_GPIO_Init(BUTTON_EXTI13_GPIO_Port, &GPIO_InitStruct);

  /*Configure GPIO pins : ARD_A5_Pin ARD_A4_Pin ARD_A3_Pin ARD_A2_Pin
                           ARD_A1_Pin ARD_A0_Pin */
  GPIO_InitStruct.Pin = ARD_A5_Pin|ARD_A4_Pin|ARD_A3_Pin|ARD_A2_Pin
                          |ARD_A1_Pin|ARD_A0_Pin;
  GPIO_InitStruct.Mode = GPIO_MODE_ANALOG_ADC_CONTROL;
  GPIO_InitStruct.Pull = GPIO_NOPULL;
  HAL_GPIO_Init(GPIOC, &GPIO_InitStruct);

  /*Configure GPIO pins : ARD_D1_Pin ARD_D0_Pin */
  GPIO_InitStruct.Pin = ARD_D1_Pin|ARD_D0_Pin;
  GPIO_InitStruct.Mode = GPIO_MODE_AF_PP;
  GPIO_InitStruct.Pull = GPIO_NOPULL;
  GPIO_InitStruct.Speed = GPIO_SPEED_FREQ_VERY_HIGH;
  GPIO_InitStruct.Alternate = GPIO_AF8_UART4;
  HAL_GPIO_Init(GPIOA, &GPIO_InitStruct);

  /*Configure GPIO pins : ARD_D10_Pin SPBTLE_RF_RST_Pin ARD_D9_Pin */
  GPIO_InitStruct.Pin = ARD_D10_Pin|SPBTLE_RF_RST_Pin|ARD_D9_Pin;
  GPIO_InitStruct.Mode = GPIO_MODE_OUTPUT_PP;
  GPIO_InitStruct.Pull = GPIO_NOPULL;
  GPIO_InitStruct.Speed = GPIO_SPEED_FREQ_LOW;
  HAL_GPIO_Init(GPIOA, &GPIO_InitStruct);

  /*Configure GPIO pin : ARD_D4_Pin */
  GPIO_InitStruct.Pin = ARD_D4_Pin;
  GPIO_InitStruct.Mode = GPIO_MODE_AF_PP;
  GPIO_InitStruct.Pull = GPIO_NOPULL;
  GPIO_InitStruct.Speed = GPIO_SPEED_FREQ_LOW;
  GPIO_InitStruct.Alternate = GPIO_AF1_TIM2;
  HAL_GPIO_Init(ARD_D4_GPIO_Port, &GPIO_InitStruct);

  /*Configure GPIO pin : ARD_D7_Pin */
  GPIO_InitStruct.Pin = ARD_D7_Pin;
  GPIO_InitStruct.Mode = GPIO_MODE_ANALOG_ADC_CONTROL;
  GPIO_InitStruct.Pull = GPIO_NOPULL;
  HAL_GPIO_Init(ARD_D7_GPIO_Port, &GPIO_InitStruct);

  /*Configure GPIO pins : ARD_D13_Pin ARD_D12_Pin ARD_D11_Pin */
  GPIO_InitStruct.Pin = ARD_D13_Pin|ARD_D12_Pin|ARD_D11_Pin;
  GPIO_InitStruct.Mode = GPIO_MODE_AF_PP;
  GPIO_InitStruct.Pull = GPIO_NOPULL;
  GPIO_InitStruct.Speed = GPIO_SPEED_FREQ_VERY_HIGH;
  GPIO_InitStruct.Alternate = GPIO_AF5_SPI1;
  HAL_GPIO_Init(GPIOA, &GPIO_InitStruct);

  /*Configure GPIO pin : ARD_D3_Pin */
  GPIO_InitStruct.Pin = ARD_D3_Pin;
  GPIO_InitStruct.Mode = GPIO_MODE_IT_RISING;
  GPIO_InitStruct.Pull = GPIO_NOPULL;
  HAL_GPIO_Init(ARD_D3_GPIO_Port, &GPIO_InitStruct);

  /*Configure GPIO pin : ARD_D6_Pin */
  GPIO_InitStruct.Pin = ARD_D6_Pin;
  GPIO_InitStruct.Mode = GPIO_MODE_ANALOG_ADC_CONTROL;
  GPIO_InitStruct.Pull = GPIO_NOPULL;
  HAL_GPIO_Init(ARD_D6_GPIO_Port, &GPIO_InitStruct);

  /*Configure GPIO pins : ARD_D8_Pin ISM43362_BOOT0_Pin ISM43362_WAKEUP_Pin LED2_Pin
                           SPSGRF_915_SDN_Pin ARD_D5_Pin SPSGRF_915_SPI3_CSN_Pin */
  GPIO_InitStruct.Pin = ARD_D8_Pin|ISM43362_BOOT0_Pin|ISM43362_WAKEUP_Pin|LED2_Pin
                          |SPSGRF_915_SDN_Pin|ARD_D5_Pin|SPSGRF_915_SPI3_CSN_Pin;
  GPIO_InitStruct.Mode = GPIO_MODE_OUTPUT_PP;
  GPIO_InitStruct.Pull = GPIO_NOPULL;
  GPIO_InitStruct.Speed = GPIO_SPEED_FREQ_LOW;
  HAL_GPIO_Init(GPIOB, &GPIO_InitStruct);

  /*Configure GPIO pins : LPS22HB_INT_DRDY_EXTI0_Pin LSM6DSL_INT1_EXTI11_Pin ARD_D2_Pin HTS221_DRDY_EXTI15_Pin
                           PMOD_IRQ_EXTI12_Pin */
  GPIO_InitStruct.Pin = LPS22HB_INT_DRDY_EXTI0_Pin|LSM6DSL_INT1_EXTI11_Pin|ARD_D2_Pin|HTS221_DRDY_EXTI15_Pin
                          |PMOD_IRQ_EXTI12_Pin;
  GPIO_InitStruct.Mode = GPIO_MODE_IT_RISING;
  GPIO_InitStruct.Pull = GPIO_NOPULL;
  HAL_GPIO_Init(GPIOD, &GPIO_InitStruct);

  /*Configure GPIO pins : USB_OTG_FS_PWR_EN_Pin SPBTLE_RF_SPI3_CSN_Pin PMOD_RESET_Pin STSAFE_A100_RESET_Pin */
  GPIO_InitStruct.Pin = USB_OTG_FS_PWR_EN_Pin|SPBTLE_RF_SPI3_CSN_Pin|PMOD_RESET_Pin|STSAFE_A100_RESET_Pin;
  GPIO_InitStruct.Mode = GPIO_MODE_OUTPUT_PP;
  GPIO_InitStruct.Pull = GPIO_NOPULL;
  GPIO_InitStruct.Speed = GPIO_SPEED_FREQ_LOW;
  HAL_GPIO_Init(GPIOD, &GPIO_InitStruct);

  /*Configure GPIO pins : VL53L0X_XSHUT_Pin LED3_WIFI__LED4_BLE_Pin */
  GPIO_InitStruct.Pin = VL53L0X_XSHUT_Pin|LED3_WIFI__LED4_BLE_Pin;
  GPIO_InitStruct.Mode = GPIO_MODE_OUTPUT_PP;
  GPIO_InitStruct.Pull = GPIO_NOPULL;
  GPIO_InitStruct.Speed = GPIO_SPEED_FREQ_LOW;
  HAL_GPIO_Init(GPIOC, &GPIO_InitStruct);

  /*Configure GPIO pins : VL53L0X_GPIO1_EXTI7_Pin LSM3MDL_DRDY_EXTI8_Pin */
  GPIO_InitStruct.Pin = VL53L0X_GPIO1_EXTI7_Pin|LSM3MDL_DRDY_EXTI8_Pin;
  GPIO_InitStruct.Mode = GPIO_MODE_IT_RISING;
  GPIO_InitStruct.Pull = GPIO_NOPULL;
  HAL_GPIO_Init(GPIOC, &GPIO_InitStruct);

  /*Configure GPIO pin : PMOD_SPI2_SCK_Pin */
  GPIO_InitStruct.Pin = PMOD_SPI2_SCK_Pin;
  GPIO_InitStruct.Mode = GPIO_MODE_AF_PP;
  GPIO_InitStruct.Pull = GPIO_NOPULL;
  GPIO_InitStruct.Speed = GPIO_SPEED_FREQ_VERY_HIGH;
  GPIO_InitStruct.Alternate = GPIO_AF5_SPI2;
  HAL_GPIO_Init(PMOD_SPI2_SCK_GPIO_Port, &GPIO_InitStruct);

  /*Configure GPIO pins : PMOD_UART2_CTS_Pin PMOD_UART2_RTS_Pin PMOD_UART2_TX_Pin PMOD_UART2_RX_Pin */
  GPIO_InitStruct.Pin = PMOD_UART2_CTS_Pin|PMOD_UART2_RTS_Pin|PMOD_UART2_TX_Pin|PMOD_UART2_RX_Pin;
  GPIO_InitStruct.Mode = GPIO_MODE_AF_PP;
  GPIO_InitStruct.Pull = GPIO_NOPULL;
  GPIO_InitStruct.Speed = GPIO_SPEED_FREQ_VERY_HIGH;
  GPIO_InitStruct.Alternate = GPIO_AF7_USART2;
  HAL_GPIO_Init(GPIOD, &GPIO_InitStruct);

  /*Configure GPIO pins : ARD_D15_Pin ARD_D14_Pin */
  GPIO_InitStruct.Pin = ARD_D15_Pin|ARD_D14_Pin;
  GPIO_InitStruct.Mode = GPIO_MODE_AF_OD;
  GPIO_InitStruct.Pull = GPIO_PULLUP;
  GPIO_InitStruct.Speed = GPIO_SPEED_FREQ_VERY_HIGH;
  GPIO_InitStruct.Alternate = GPIO_AF4_I2C1;
  HAL_GPIO_Init(GPIOB, &GPIO_InitStruct);

  /* EXTI interrupt init*/
  HAL_NVIC_SetPriority(EXTI9_5_IRQn, 5, 0);
  HAL_NVIC_EnableIRQ(EXTI9_5_IRQn);

  HAL_NVIC_SetPriority(EXTI15_10_IRQn, 5, 0);
  HAL_NVIC_EnableIRQ(EXTI15_10_IRQn);

}

void StartTaskBottone(void const * argument)
{
  /* USER CODE BEGIN 5 */
  /* Infinite loop */
  for(;;)
  {
			  osDelay(150);
			  uint32_t inizio1 = HAL_GetTick();
			  osSemaphoreWait(myMutex01Handle,osWaitForever);
	  	  	  snprintf(str_tmp7,100," Il task default e' arrivato = %ld\n\r", inizio1);
	  	  	  HAL_UART_Transmit(&huart1,( uint8_t * )str_tmp7,sizeof(str_tmp7),HAL_MAX_DELAY);
	  	  	  uint32_t start = HAL_GetTick();
	  	  	  snprintf(str1,100," Il task default ha iniziato = %ld\n\r", start);
	  	  	  HAL_UART_Transmit(&huart1,( uint8_t * )str1,sizeof(str1),HAL_MAX_DELAY);

	  	  	  bitstatus = HAL_GPIO_ReadPin(BUTTON_EXTI13_GPIO_Port, BUTTON_EXTI13_Pin);

	  	  	  //temperature basse, premo il pulsante -> il sistema si attiva
	  	  	  if(bitstatus == 0 && pulsante == 0 && incendio==0){
	  	  		  if(b2>0){
	  	  			b2=0;
	  	  			osSemaphoreRelease(myBinarySem02Handle);
	  	  		  }
	  	  		  pulsante = 1;
	  	  		  action = 0;
	  	  		  nTempBasse=0;
	  	  		  nTempAlte = nTempValid+1;
	  	  		  delay = 500;
	  	  		  Temp DataToSend = {1,0};
	  	  		  osMessagePut(myQueue03Handle,(uint32_t)&DataToSend,200);
	  	  		  HAL_UART_Transmit(&huart1,( uint8_t * )msg_attivato,sizeof(msg_attivato),HAL_MAX_DELAY);
	  	  	  }

	  	  	  // premo il pulsante -> il sistema si disattiva indipendentemente dalle temperature
	  	  	  else if (bitstatus == 0){
	  	  		 b2=1;
	  	  		 pulsante = 0;
	  	  		 incendio=0;
	  	  		 nTempAlte=0;
	  	  		 nTempBasse = 0;
	  	  		 action = 0;
	  	  		 delay = 1500;
	  	  		 Temp DataToSend = {0,0};
	  	  		 osMessagePut(myQueue03Handle,(uint32_t)&DataToSend,200);
	  	  		 HAL_UART_Transmit(&huart1,( uint8_t * )msg_disattivato,sizeof(msg_disattivato),HAL_MAX_DELAY);
	  	  	  }

			   uint32_t end = HAL_GetTick();
	  		   time1 = end - start;
	  		   snprintf(str_tmp11,100," WCET default = %ld\n\r",time1);
	  		   HAL_UART_Transmit(&huart1,( uint8_t * )str_tmp11,sizeof(str_tmp11),HAL_MAX_DELAY);
	  		   HAL_UART_Transmit(&huart1,( uint8_t * )linea,sizeof(linea),HAL_MAX_DELAY);
	  	       osSemaphoreRelease(myMutex01Handle);
  }
  /* USER CODE END 5 */
}

void StartTaskTemperatura(void const * argument)
{
  /* USER CODE BEGIN StartTaskTemperatura */
  /* Infinite loop */
	  for(;;)
	  {
		  osDelay(delay);
		  uint32_t inizio2 = HAL_GetTick();
		  osSemaphoreWait(myMutex01Handle,osWaitForever);
		  snprintf(str_tmp8,100," Task 1 e' arrivato  = %ld\n\r", inizio2);
		  HAL_UART_Transmit(&huart1,( uint8_t * )str_tmp8,sizeof(str_tmp8),HAL_MAX_DELAY);
		  uint32_t start = HAL_GetTick();
		  snprintf(str2,100," Il task 1 ha iniziato = %ld\n\r", start);
		  HAL_UART_Transmit(&huart1,( uint8_t * )str2,sizeof(str2),HAL_MAX_DELAY);

		  //accendo il led verde quando la situazione è normale
		  if(nTempAlte == 0 && nTempBasse == 0){
			  HAL_GPIO_WritePin(LED2_GPIO_Port, LED2_Pin, GPIO_PIN_SET);
			  HAL_GPIO_WritePin(LED3_WIFI__LED4_BLE_GPIO_Port, LED3_WIFI__LED4_BLE_Pin,  GPIO_PIN_SET);
		  }

		   temp_value = BSP_TSENSOR_ReadTemp();
		   if(temp_value > tempMax){
			   nTempAlte++;
			   nTempBasse=0;
		   } else{
			   nTempBasse++;
			   if(nTempBasse>nTempValid && pulsante == 0){
					   nTempAlte = 0;
					   nTempBasse=0;
					   if(incendio==1){
						   incendio=0;
					   }
			   }
		   }

		   int tmpInt1 = temp_value;
		   float tmpFrac = temp_value - tmpInt1;
		   int tmpInt2 = trunc(tmpFrac * 100);

		   if(snprintf(str_tmp4,30,"Temperatura = %d.%02d\n\r", tmpInt1,tmpInt2)>0){
			   HAL_UART_Transmit(&huart1,( uint8_t * )str_tmp4,sizeof(str_tmp4),HAL_MAX_DELAY);
		   }
		   //se abbiamo letto molte temperature elevate, sblocchiamo il task della distanza e dichiariamo l'incendio
		   // e inviamo un messaggio
		   if(nTempAlte > nTempValid){
			   if(b2>0){
				   b2=0;
				   osSemaphoreRelease(myBinarySem02Handle);
				   HAL_UART_Transmit(&huart1,( uint8_t * )str_incendio,sizeof(str_incendio),HAL_MAX_DELAY);
			   }
			   incendio=1;
			   Temp DataToSend = {1,1};
			   osMessagePut(myQueue02Handle,(uint32_t)&DataToSend,200);
			   messaggioInviato = 1;
			   delay = 500;
		   }
		   else if(messaggioInviato == 1){
			   messaggioInviato = 0;
			   delay = 1500;
			   b2 = 1;
			   Temp DataToSend = {0,1};
			   osMessagePut(myQueue02Handle,(uint32_t)&DataToSend,200);
		   }

		   uint32_t end = HAL_GetTick();
		   time2 = end - start;
		   snprintf(str_tmp12,100," WCET 1 = %ld\n\r",time2);
		   HAL_UART_Transmit(&huart1,( uint8_t * )str_tmp12,sizeof(str_tmp12),HAL_MAX_DELAY);
		   HAL_UART_Transmit(&huart1,( uint8_t * )linea,sizeof(linea),HAL_MAX_DELAY);
		   osSemaphoreRelease(myMutex01Handle);

	  }
  /* USER CODE END StartTaskTemperatura */
}

void StartTaskDistanza(void const * argument)
{
  /* USER CODE BEGIN StartTaskDistanza */
  /* Infinite loop */
	osSemaphoreWait(myBinarySem02Handle, osWaitForever);
		  for(;;)
		  {
			  osDelay(delay);
			  uint32_t inizio3 = HAL_GetTick();
			  osSemaphoreWait(myMutex01Handle, osWaitForever);
			  snprintf(str_tmp9,100," Task 2 e' arrivato = %ld\n\r", inizio3);
			  HAL_UART_Transmit(&huart1,( uint8_t * )str_tmp9,sizeof(str_tmp9),HAL_MAX_DELAY);
			  uint32_t start = HAL_GetTick();
			  snprintf(str3,100," Il task 2 ha iniziato = %ld\n\r", start);
			  HAL_UART_Transmit(&huart1,( uint8_t * )str3,sizeof(str3),HAL_MAX_DELAY);

			  //ricezione dati
			  uint16_t temperaturaElevata=0;
			  tempRicevuta=osMessageGet(myQueue02Handle,200);
			  temperaturaElevata = (((Temp*)tempRicevuta.value.p)->tempValue);

			  uint16_t pulsanteAttivato=0;
			  statoPulsanteRicevuto=osMessageGet(myQueue03Handle,200);
			  pulsanteAttivato = (((Temp*)statoPulsanteRicevuto.value.p)->tempValue);

			  if(temperaturaElevata == 1 || pulsanteAttivato == 1 ){
				  uint16_t PROXIMITY_Value = VL53L0X_PROXIMITY_GetDistance();
				  if(PROXIMITY_Value != 0){
					  int gesture_code = tof_gestures_detectSWIPE_1(PROXIMITY_Value, &gestureSwipeData);
					  Data DataToSend1 = {PROXIMITY_Value,gesture_code};
					  osMessagePut(myQueue01Handle,(uint32_t)&DataToSend1,200);
					  messaggioTrasmesso = 1;
				  }
				  if(b3>0){
					  b3=0;
					  osSemaphoreRelease(myBinarySem03Handle);
				  }
				  osSemaphoreRelease(myBinarySem02Handle);
			  }
			  else if (temperaturaElevata == 0 || pulsanteAttivato == 0){
				  b2=1;
			  }

			  uint32_t end = HAL_GetTick();
			  time3 = end - start;
			  snprintf(str_tmp13,100," WCET 2 = %ld\n\r",time3);
			  HAL_UART_Transmit(&huart1,( uint8_t * )str_tmp13,sizeof(str_tmp13),HAL_MAX_DELAY);
			  HAL_UART_Transmit(&huart1,( uint8_t * )linea,sizeof(linea),HAL_MAX_DELAY);

			  osSemaphoreRelease(myMutex01Handle);
			  osSemaphoreWait(myBinarySem02Handle, osWaitForever);

		  }
  /* USER CODE END StartTaskDistanza */
}

void StartTaskLed(void const * argument)
{
  /* USER CODE BEGIN StartTaskLed */
  /* Infinite loop */
	osSemaphoreWait(myBinarySem03Handle, osWaitForever);
			  for(;;)
			  {
				  osDelay(delay);
				  uint32_t inizio4 = HAL_GetTick();
				  osSemaphoreWait(myMutex01Handle, osWaitForever);
				  snprintf(str_tmp10,100," Task 3 e' arrivato = %ld\n\r", inizio4);
				  HAL_UART_Transmit(&huart1,( uint8_t * )str_tmp10,sizeof(str_tmp10),HAL_MAX_DELAY);
				  uint32_t start = HAL_GetTick();
				  snprintf(str4,100," Il task 3 ha iniziato = %ld\n\r", start);
				  HAL_UART_Transmit(&huart1,( uint8_t * )str4,sizeof(str4),HAL_MAX_DELAY);

				  if(b2>0 || messaggioTrasmesso == 0){
					  b3=1;
				  }
				  else{
					  messaggioTrasmesso = 0;
					  distanzaRicevuta=osMessageGet(myQueue01Handle,200);
					  uint16_t distance = (((Data*)distanzaRicevuta.value.p)->Distance);
					  int gesture = (((Data*)distanzaRicevuta.value.p)->Gesture);

					  if(distance == 8190){
						  HAL_UART_Transmit(&huart1,( uint8_t * )msgdist,sizeof(msgdist),HAL_MAX_DELAY);
					  }
					  else{
						  if(snprintf(str_tmp2,30,"Distanza = %d \n\r", distance)>0){
							  HAL_UART_Transmit(&huart1,( uint8_t * )str_tmp2,sizeof(str_tmp2),HAL_MAX_DELAY);
						  }
					  }

					  if(gesture == 5){
						  action = 2;
					  }
					  if(gesture == 0 && action == 0){
						  HAL_UART_Transmit(&huart1,( uint8_t * )msggest,sizeof(msggest),HAL_MAX_DELAY);
					  }
					  else if(gesture == 0 && action == 2){
						  HAL_UART_Transmit(&huart1,( uint8_t * )msggest2,sizeof(msggest2),HAL_MAX_DELAY);

					  }
					  else{
						  if(snprintf(str_tmp5,30,"Gesto = %d\n\r",gesture)>0){
							  HAL_UART_Transmit(&huart1,( uint8_t * )str_tmp5,sizeof(str_tmp5),HAL_MAX_DELAY);
						  }
					  }

	  				  if((gesture==0 && action == 2)||((gesture == 5 || gesture == 6 ) && distance < distMax && distance > distMin)){
	  					HAL_GPIO_TogglePin(LED3_WIFI__LED4_BLE_GPIO_Port,LED3_WIFI__LED4_BLE_Pin);
	  				  }
	  				  else if (distance < distMax && distance > distMin){
	  					HAL_GPIO_TogglePin(LED3_WIFI__LED4_BLE_GPIO_Port,LED3_WIFI__LED4_BLE_Pin);
	  				  }
	  				  else if (distance <= distMin){
	  					HAL_GPIO_TogglePin(LED3_WIFI__LED4_BLE_GPIO_Port,LED3_WIFI__LED4_BLE_Pin);
	  					HAL_UART_Transmit(&huart1,( uint8_t * )porta,sizeof(porta),HAL_MAX_DELAY);
	  				  }
	  				  else{
	  					HAL_GPIO_WritePin(LED3_WIFI__LED4_BLE_GPIO_Port, LED3_WIFI__LED4_BLE_Pin,  GPIO_PIN_RESET);
	  				  }
	  				HAL_GPIO_WritePin(LED2_GPIO_Port, LED2_Pin, GPIO_PIN_RESET);
	  				osSemaphoreRelease(myBinarySem03Handle);

				  }
				  uint32_t end = HAL_GetTick();
				  time4 = end - start;
				  snprintf(str_tmp14,100," WCET 3 = %ld\n\r",time4);
				  HAL_UART_Transmit(&huart1,( uint8_t * )str_tmp14,sizeof(str_tmp14),HAL_MAX_DELAY);
				  HAL_UART_Transmit(&huart1,( uint8_t * )linea,sizeof(linea),HAL_MAX_DELAY);

				  osSemaphoreRelease(myMutex01Handle);
				  osSemaphoreWait(myBinarySem03Handle, osWaitForever);

			  }
  /* USER CODE END StartTaskLed */
}

void Error_Handler(void)
{
}

/************************ (C) COPYRIGHT STMicroelectronics *****END OF FILE****/

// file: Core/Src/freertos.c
/* USER CODE BEGIN Header */
/**
  ******************************************************************************
  * File Name          : freertos.c
  * Description        : Code for freertos applications
  ******************************************************************************
  * @attention
  *
  * <h2><center>&copy; Copyright (c) 2020 STMicroelectronics.
  * All rights reserved.</center></h2>
  *
  * This software component is licensed by ST under Ultimate Liberty license
  * SLA0044, the "License"; You may not use this file except in compliance with
  * the License. You may obtain a copy of the License at:
  *                             www.st.com/SLA0044
  *
  ******************************************************************************
  */
/* USER CODE END Header */

#include "FreeRTOS.h"
#include "task.h"
#include "main.h"

/* GetIdleTaskMemory prototype (linked to static allocation support) */
void vApplicationGetIdleTaskMemory( StaticTask_t **ppxIdleTaskTCBBuffer, StackType_t **ppxIdleTaskStackBuffer, uint32_t *pulIdleTaskStackSize );

/* GetTimerTaskMemory prototype (linked to static allocation support) */
void vApplicationGetTimerTaskMemory( StaticTask_t **ppxTimerTaskTCBBuffer, StackType_t **ppxTimerTaskStackBuffer, uint32_t *pulTimerTaskStackSize );

/* Hook prototypes */
void configureTimerForRunTimeStats(void);
unsigned long getRunTimeCounterValue(void);
void vApplicationIdleHook(void);
void vApplicationTickHook(void);
void vApplicationMallocFailedHook(void);

/* USER CODE BEGIN 1 */
/* Functions needed when configGENERATE_RUN_TIME_STATS is on */
__weak void configureTimerForRunTimeStats(void)
{

}

__weak unsigned long getRunTimeCounterValue(void)
{
return 0;
}
/* USER CODE END 1 */

/* USER CODE BEGIN 2 */
__weak void vApplicationIdleHook( void )
{
   /* vApplicationIdleHook() will only be called if configUSE_IDLE_HOOK is set
   to 1 in FreeRTOSConfig.h. It will be called on each iteration of the idle
   task. It is essential that code added to this hook function never attempts
   to block in any way (for example, call xQueueReceive() with a block time
   specified, or call vTaskDelay()). If the application makes use of the
   vTaskDelete() API function (as this demo application does) then it is also
   important that vApplicationIdleHook() is permitted to return to its calling
   function, because it is the responsibility of the idle task to clean up
   memory allocated by the kernel to any task that has since been deleted. */
}
/* USER CODE END 2 */

/* USER CODE BEGIN 3 */
__weak void vApplicationTickHook( void )
{
   /* This function will be called by each tick interrupt if
   configUSE_TICK_HOOK is set to 1 in FreeRTOSConfig.h. User code can be
   added here, but the tick hook is called from an interrupt context, so
   code must not attempt to block, and only the interrupt safe FreeRTOS API
   functions can be used (those that end in FromISR()). */
}
/* USER CODE END 3 */

/* USER CODE BEGIN 5 */
__weak void vApplicationMallocFailedHook(void)
{
   /* vApplicationMallocFailedHook() will only be called if
   configUSE_MALLOC_FAILED_HOOK is set to 1 in FreeRTOSConfig.h. It is a hook
   function that will get called if a call to pvPortMalloc() fails.
   pvPortMalloc() is called internally by the kernel whenever a task, queue,
   timer or semaphore is created. It is also called by various parts of the
   demo application. If heap_1.c or heap_2.c are used, then the size of the
   heap available to pvPortMalloc() is defined by configTOTAL_HEAP_SIZE in
   FreeRTOSConfig.h, and the xPortGetFreeHeapSize() API function can be used
   to query the size of free heap space that remains (although it does not
   provide information on how the remaining heap might be fragmented). */
}
/* USER CODE END 5 */

/* USER CODE BEGIN GET_IDLE_TASK_MEMORY */
static StaticTask_t xIdleTaskTCBBuffer;
static StackType_t xIdleStack[configMINIMAL_STACK_SIZE];

void vApplicationGetIdleTaskMemory( StaticTask_t **ppxIdleTaskTCBBuffer, StackType_t **ppxIdleTaskStackBuffer, uint32_t *pulIdleTaskStackSize )
{
  *ppxIdleTaskTCBBuffer = &xIdleTaskTCBBuffer;
  *ppxIdleTaskStackBuffer = &xIdleStack[0];
  *pulIdleTaskStackSize = configMINIMAL_STACK_SIZE;
  /* place for user code */
}
/* USER CODE END GET_IDLE_TASK_MEMORY */

/* USER CODE BEGIN GET_TIMER_TASK_MEMORY */
static StaticTask_t xTimerTaskTCBBuffer;
static StackType_t xTimerStack[configTIMER_TASK_STACK_DEPTH];

void vApplicationGetTimerTaskMemory( StaticTask_t **ppxTimerTaskTCBBuffer, StackType_t **ppxTimerTaskStackBuffer, uint32_t *pulTimerTaskStackSize )
{
  *ppxTimerTaskTCBBuffer = &xTimerTaskTCBBuffer;
  *ppxTimerTaskStackBuffer = &xTimerStack[0];
  *pulTimerTaskStackSize = configTIMER_TASK_STACK_DEPTH;
  /* place for user code */
}
/* USER CODE END GET_TIMER_TASK_MEMORY */

/************************ (C) COPYRIGHT STMicroelectronics *****END OF FILE****/
